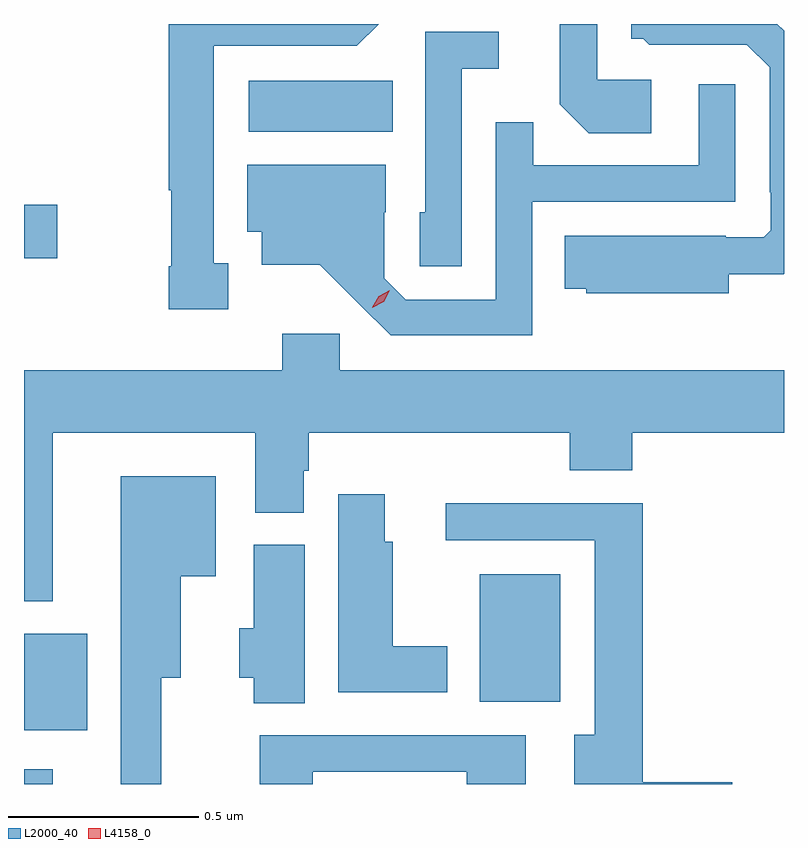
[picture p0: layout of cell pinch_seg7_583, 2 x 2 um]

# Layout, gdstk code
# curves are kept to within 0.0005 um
import gdstk
lib = gdstk.Library(unit=1e-6, precision=1e-09)
def R(c, l, rs):  # rectangles x0, y0, x1, y1
    for r in rs: c.add(gdstk.rectangle(r[:2], r[2:], *l))
def P(c, l, *ps):  # polygons
    for p in ps: c.add(gdstk.Polygon(p, *l))
L2000_40 = (2000, 40)
L4158_0 = (4158, 0)

pinch_seg7_583 = lib.new_cell('pinch_seg7_583')
R(pinch_seg7_583, L2000_40, [(129.459,1054.303,129.535,1054.342), (129.459,1054.445,129.625,1054.699), (130.658,1054.52,130.87,1054.855), (129.459,1055.686,129.547,1055.828), (130.05,1056.02,130.43,1056.154)])
P(pinch_seg7_583, L2000_40, [(129.997,1055.673),(129.958,1055.673),(129.958,1056.246),(130.335,1056.246),(130.392,1056.303),(129.84,1056.303),(129.84,1055.865),(129.847,1055.865),(129.847,1055.665),(129.84,1055.665),(129.84,1055.553),(129.997,1055.553)],
  [(131.11,1056.156),(130.968,1056.156),(130.968,1056.303),(130.869,1056.303),(130.869,1056.092),(130.945,1056.016),(131.11,1056.016)],
  [(131.314,1055.645),(131.458,1055.645),(131.459,1055.646),(131.459,1056.285),(131.441,1056.303),(131.057,1056.303),(131.057,1056.264),(131.088,1056.264),(131.104,1056.248),(131.238,1056.248),(131.238,1056.249),(131.361,1056.249),(131.421,1056.189),(131.421,1055.86),(131.424,1055.86),(131.424,1055.76),(131.406,1055.742),(131.306,1055.742),(131.306,1055.746),(130.882,1055.746),(130.882,1055.606),(130.938,1055.606),(130.938,1055.594),(131.314,1055.594)],
  [(130.611,1056.185),(130.708,1056.185),(130.708,1056.282),(130.515,1056.282),(130.515,1055.808),(130.5,1055.808),(130.5,1055.665),(130.611,1055.665)],
  [(130.797,1055.835),(131.331,1055.835),(131.331,1056.145),(131.235,1056.145),(131.235,1055.931),(130.799,1055.931),(130.799,1056.044),(130.701,1056.044),(130.701,1055.577),(130.464,1055.577),(130.407,1055.634),(130.407,1055.808),(130.411,1055.808),(130.411,1055.932),(130.046,1055.932),(130.046,1055.756),(130.085,1055.756),(130.085,1055.669),(130.237,1055.669),(130.424,1055.484),(130.797,1055.484)],
  [(129.535,1055.228),(130.067,1055.228),(130.067,1055.017),(130.195,1055.017),(130.195,1055.127),(130.208,1055.127),(130.208,1055.228),(130.895,1055.228),(130.895,1055.129),(131.06,1055.129),(131.06,1055.228),(131.459,1055.228),(131.459,1055.392),(130.29,1055.392),(130.29,1055.488),(130.139,1055.488),(130.139,1055.392),(129.459,1055.392),(129.459,1054.784),(129.535,1054.784)],
  [(129.82,1054.583),(129.871,1054.583),(129.871,1054.85),(129.964,1054.85),(129.964,1055.113),(129.713,1055.113),(129.713,1054.303),(129.82,1054.303)],
  [(130.573,1054.666),(130.429,1054.666),(130.429,1054.941),(130.408,1054.941),(130.408,1055.065),(130.286,1055.065),(130.286,1054.544),(130.573,1054.544)],
  [(131.323,1054.307),(131.087,1054.307),(131.087,1055.042),(130.569,1055.042),(130.569,1054.944),(130.961,1054.944),(130.961,1054.432),(130.907,1054.432),(130.907,1054.303),(131.323,1054.303)],
  [(130.198,1054.932),(130.064,1054.932),(130.064,1054.713),(130.025,1054.713),(130.025,1054.583),(130.064,1054.583),(130.064,1054.516),(130.198,1054.516)],
  [(130.219,1054.335),(130.624,1054.335),(130.624,1054.303),(130.78,1054.303),(130.78,1054.431),(130.079,1054.431),(130.079,1054.303),(130.219,1054.303)])
P(pinch_seg7_583, L4158_0, [(130.375,1055.556),(130.375,1055.557),(130.392,1055.587),(130.422,1055.603),(130.422,1055.603),(130.422,1055.602),(130.406,1055.572),(130.375,1055.556)])

lib.write_gds('pinch_seg7_583.gds')
